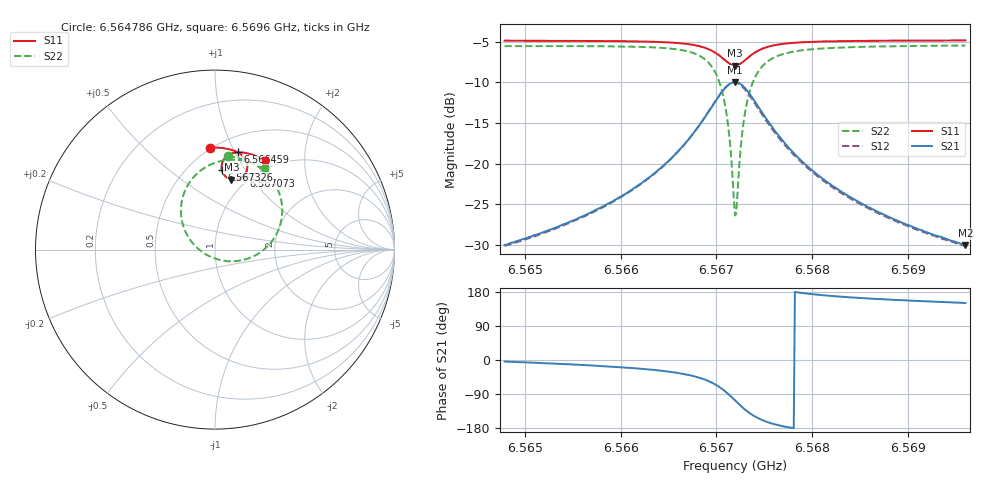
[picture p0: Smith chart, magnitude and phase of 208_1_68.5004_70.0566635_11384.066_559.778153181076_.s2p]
#  HZ  S  RI  R  50.00
! Rohde & Schwarz Vector Network Analyzer
! Rohde-Schwarz,ZNB20-2Port,1311601062101988,3.16
! Created: UTC 3/20/2024, 5:13:01 PM
! freq[Hz]  re:S11  im:S11  re:S21  im:S21  re:S12  im:S12  re:S22  im:S22
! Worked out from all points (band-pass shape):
!   401 points, 6.564786 GHz to 6.5696 GHz, reference 50 ohm
!   highest |S21| = -9.98 dB at 6.567193 GHz (marker M1); lowest = -30.0 dB at 6.5696 GHz (marker M2)
!   |S21| within 3 dB of the highest: 6.566954 GHz to 6.567435 GHz (481.2 kHz wide, 0.00733 % of centre)
!   lowest |S11| = -8.0 dB at 6.567193 GHz (marker M3), VSWR 2.33, Z = 43 + j39.9 ohm
!   |S11| at or under -10 dB: nowhere
!   |S22| runs from -26.4 to -5.5 dB; largest |S21 - S12| = 0.016
!   S11 on the Smith chart (normalised r, x): 6.564786 GHz: 0.49, +0.82; 6.566459 GHz: 0.65, +1.02; 6.567073 GHz: 0.92, +0.94; 6.567326 GHz: 0.71, +0.79; 6.5696 GHz: 0.88, +1.30
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6.5647864e9  -0.0293 0.5683  0.0316 -0.00226  0.031 -0.00278  0.0728 0.5215
6.5655927e9  0.0384 0.5663  0.046 -0.0106  0.0452 -0.0112  0.1542 0.5035
6.56605e9  0.081 0.559  0.0614 -0.0221  0.0604 -0.023  0.2138 0.4779
6.566399e9  0.1184 0.546  0.0815 -0.0426  0.0803 -0.0435  0.2743 0.4363
6.5664592e9  0.1254 0.5425  0.0861 -0.0484  0.0849 -0.0494  0.2869 0.4248
6.5666999e9  0.156 0.5195  0.1079 -0.0874  0.1063 -0.0893  0.3433 0.3482
6.5668804e9  0.1773 0.4828  0.119 -0.1519  0.116 -0.1553  0.3746 0.2237
6.5669887e9  0.1784 0.445  0.1028 -0.2183  0.0968 -0.2226  0.3481 0.0978
6.5670729e9  0.1597 0.4098  0.0533 -0.2779  0.0426 -0.2814  0.2554 -0.0133
6.5671211e9  0.1371 0.394  0.00352 -0.3031  -0.00978 -0.3036  0.1625 -0.0564
6.5671451e9  0.1228 0.3892  -0.0264 -0.3092  -0.0408 -0.3076  0.1074 -0.0649
6.5671812e9  0.0997 0.3883  -0.0743 -0.3076  -0.0887 -0.3019  0.0213 -0.0564
6.5671933e9  0.0918 0.3896  -0.0902 -0.3038  -0.1044 -0.2968  -0.00659 -0.0476
6.5672173e9  0.0769 0.3948  -0.1204 -0.2916  -0.1333 -0.2822  -0.0585 -0.0217
6.5672655e9  0.053 0.4135  -0.169 -0.2525  -0.178 -0.2397  -0.1382 0.0542
6.5673256e9  0.038 0.4441  -0.2013 -0.1919  -0.2049 -0.1785  -0.1852 0.1649
6.5674219e9  0.0413 0.4872  -0.2032 -0.1085  -0.2012 -0.0982  -0.174 0.3105
6.5675663e9  0.0687 0.5227  -0.1676 -0.0397  -0.164 -0.0339  -0.0974 0.4259
6.5677348e9  0.1005 0.538  -0.129 -0.00693  -0.1257 -0.00394  -0.0167 0.4775
6.5679996e9  0.1395 0.5422  -0.0903 0.01  -0.088 0.0113  0.069 0.4994
6.5688059e9  0.2199 0.5247  -0.0438 0.0165  -0.0428 0.0168  0.202 0.485
6.5696001e9  0.2807 0.4968  -0.0274 0.0156  -0.0269 0.0156  0.2778 0.4528
